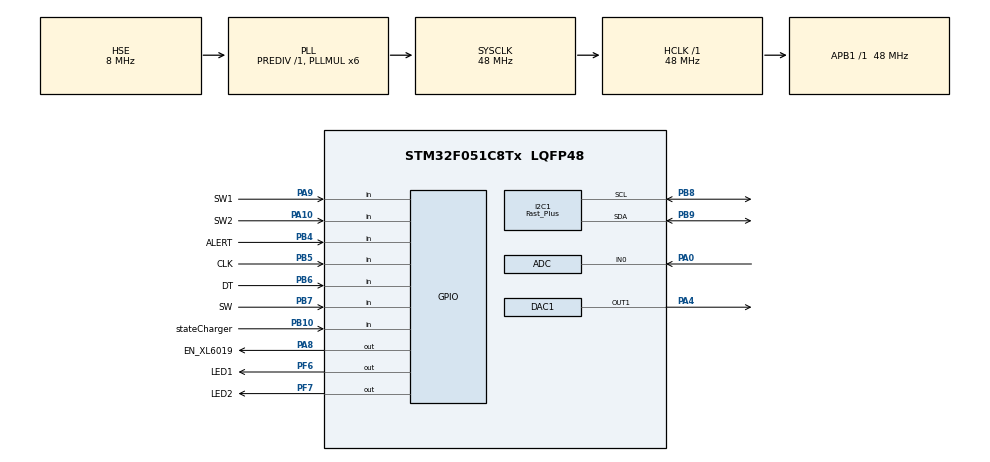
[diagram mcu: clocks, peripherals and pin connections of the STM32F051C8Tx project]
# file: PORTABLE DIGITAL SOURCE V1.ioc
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ADC.ClockPrescaler=ADC_CLOCK_SYNC_PCLK_DIV4
ADC.ContinuousConvMode=ENABLE
ADC.SamplingTime=ADC_SAMPLETIME_28CYCLES_5
I2C1.I2C_Speed_Mode=I2C_Fast_Plus
I2C1.Timing=0x20000209
Mcu.Family=STM32F0
Mcu.Name=STM32F051C8Tx
Mcu.Package=LQFP48
NVIC.TIM6_DAC_IRQn=true\:0\:0\:false\:false\:true\:true\:true\:true
PA0.Mode=IN0
PA0.Signal=ADC_IN0
PA10.GPIO_Label=SW2
PA10.GPIO_PuPd=GPIO_PULLUP
PA10.Signal=GPIO_Input
PA13.Mode=Serial_Wire
PA13.Signal=SYS_SWDIO
PA14.Mode=Serial_Wire
PA14.Signal=SYS_SWCLK
PA4.Signal=COMP_DAC11_group
PA8.GPIO_Label=EN_XL6019
PA8.GPIO_PuPd=GPIO_PULLDOWN
PA8.Signal=GPIO_Output
PA9.GPIO_Label=SW1
PA9.GPIO_PuPd=GPIO_PULLUP
PA9.Signal=GPIO_Input
PB10.GPIO_Label=stateCharger
PB10.GPIO_PuPd=GPIO_PULLDOWN
PB10.Signal=GPIO_Input
PB4.GPIO_Label=ALERT
PB4.Signal=GPIO_Input
PB5.GPIO_Label=CLK
PB5.GPIO_PuPd=GPIO_PULLUP
PB5.Signal=GPIO_Input
PB6.GPIO_Label=DT
PB6.GPIO_PuPd=GPIO_PULLUP
PB6.Signal=GPIO_Input
PB7.GPIO_Label=SW
PB7.GPIO_PuPd=GPIO_PULLUP
PB7.Signal=GPIO_Input
PB8.Mode=I2C
PB8.Signal=I2C1_SCL
PB9.Mode=I2C
PB9.Signal=I2C1_SDA
PF0-OSC_IN.Mode=HSE-External-Oscillator
PF0-OSC_IN.Signal=RCC_OSC_IN
PF1-OSC_OUT.Mode=HSE-External-Oscillator
PF1-OSC_OUT.Signal=RCC_OSC_OUT
PF6.GPIO_Label=LED1
PF6.Signal=GPIO_Output
PF7.GPIO_Label=LED2
PF7.Signal=GPIO_Output
ProjectManager.HeapSize=0x200
ProjectManager.StackSize=0x400
ProjectManager.TargetToolchain=STM32CubeIDE
RCC.AHBFreq_Value=48000000
RCC.APB1Freq_Value=48000000
RCC.APB1TimFreq_Value=48000000
RCC.HCLKFreq_Value=48000000
RCC.I2c1ClockSelection=RCC_I2C1CLKSOURCE_SYSCLK
RCC.PLLMUL=RCC_PLL_MUL6
RCC.PLLSourceVirtual=RCC_PLLSOURCE_HSE
RCC.SYSCLKFreq_VALUE=48000000
RCC.SYSCLKSource=RCC_SYSCLKSOURCE_PLLCLK
SH.COMP_DAC11_group.0=DAC1_OUT1,DAC_OUT1
TIM6.Period=5-1
TIM6.Prescaler=48000-1
VP_TIM6_VS_ClockSourceINT.Mode=Enable_Timer
board=custom

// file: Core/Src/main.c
/* USER CODE BEGIN Header */
/**
  ******************************************************************************
  * @file           : main.c
  * @brief          : Main program body
  ******************************************************************************
  * @attention
  *
  * Copyright (c) 2023 STMicroelectronics.
  * All rights reserved.
  *
  * This software is licensed under terms that can be found in the LICENSE file
  * in the root directory of this software component.
  * If no LICENSE file comes with this software, it is provided AS-IS.
  *
  ******************************************************************************
  */
/* USER CODE END Header */
#include "main.h"

/* USER CODE BEGIN Includes */
#include "stdio.h"
#include "string.h"
#include "math.h"

#include "Anglas_OLED_SSD1306.h"
#include "Anglas_IMAGENES.h"
#include "Anglas_ENCODER_ROT.h"
#include "Anglas_INA226.h"

#include "eeprom.h"
#include "eeprom_Config.h"
/* USER CODE END Includes */

ADC_HandleTypeDef hadc;

DAC_HandleTypeDef hdac1;

I2C_HandleTypeDef hi2c1;

TIM_HandleTypeDef htim6;

/* USER CODE BEGIN PV */
char buff[16];
float encoder;
float Vdac;
float power,current,voltage,shunt,Vshunt;
float Vbat;

float Vdac,VoutMath,difference,PWM,ENCO=0;
float VoutMathAnterior=0.0, VoutMathDiferenciaUP=0.0, VoutMathDiferenciaLOW=0.0, VoutMathCorregido=0.0;
const float Vref=1.25;
const float R1=560;//560k
const float R2=39;//39k
const float R3=56;//56k DAC

float adcVbat=0,VbatADC,previous;

uint16_t contMillis=0;
uint8_t muestras=50;
float rango=0.08;
float step=0.5;
uint16_t cont=0;
uint16_t contButton=0;
uint8_t memButton=0;

uint8_t mem=0,suma=0;//variables para el pulsador del encoder
float point=1820.02;

extern int16_t valor_Encoder;
extern int16_t paso_Encoder;

uint8_t powerSupply=0;

/* USER CODE END PV */

void SystemClock_Config(void);
static void MX_GPIO_Init(void);
static void MX_I2C1_Init(void);
static void MX_TIM6_Init(void);
static void MX_DAC1_Init(void);
static void MX_ADC_Init(void);
/* USER CODE BEGIN PFP */
void medirCorriente(void);
void medirPotencia(void);
void medirVoltBateria(void);
void Control_Estabilizar(void);
/* USER CODE END PFP */

/* USER CODE BEGIN 0 */
typedef struct GlobalData{
	unsigned char test[10];
	unsigned int data;
}GlobalData;

GlobalData data;
/* USER CODE END 0 */

int main(void)
{

  /* MCU Configuration--------------------------------------------------------*/

  /* Reset of all peripherals, Initializes the Flash interface and the Systick. */
  HAL_Init();

  /* Configure the system clock */
  SystemClock_Config();

  /* Initialize all configured peripherals */
  MX_GPIO_Init();
  MX_I2C1_Init();
  MX_TIM6_Init();
  MX_DAC1_Init();
  MX_ADC_Init();
  /* USER CODE BEGIN 2 */

  //ee_writeToRam(0, sizeof(float), &point);
  //ee_commit();

  ee_read(0, sizeof(float), (uint8_t*)&valor_Encoder);//leo el valor de la eeprom

  HAL_TIM_Base_Start_IT(&htim6);
  OLED_Init();
  INA226_Init(3000,25,AVG_128,T_Vbus_588us,T_Vshunt_588us,MODE_SHUNT_BUS_CONTINUOUS);
  OLED_Print_Text(7,104,1,"0.1");//eliminar

  //OLED_Print_Text(2,104,1,"OFF");
  /* USER CODE END 2 */

  /* Infinite loop */
  /* USER CODE BEGIN WHILE */
  while (1)
  {

//	  if(!HAL_GPIO_ReadPin(SW1_GPIO_Port, SW1_Pin)){
//		  HAL_GPIO_WritePin(LED1_GPIO_Port, LED1_Pin, SET);
//	  }else{
//		  HAL_GPIO_WritePin(LED1_GPIO_Port, LED1_Pin, RESET);
//	  }
//
//	  if(!HAL_GPIO_ReadPin(SW2_GPIO_Port, SW2_Pin)){
//		  HAL_GPIO_WritePin(LED2_GPIO_Port, LED2_Pin, SET);
//	  }else{
//		  HAL_GPIO_WritePin(LED2_GPIO_Port, LED2_Pin, RESET);
//	  }

	  ///////////////////////////// ICONO DE CARGA BATERIA////////////////////////////////////////////////////
	  //Cuando se conecta el cargador
	  if(HAL_GPIO_ReadPin(stateCharger_GPIO_Port, stateCharger_Pin)==1){
		  OLED_Print_Text(1,104,1,"ON ");
	  }else{
		  OLED_Print_Text(1,104,1,"OFF");
	  }
	  ///////////////////////////// BUTTON ENCODER - SW ///////////////////////////////////////////////////////
      //Lo que hace es lo mismo que un toggle, solo con mi logica de programacio y sin delay
      if(HAL_GPIO_ReadPin(SW_GPIO_Port, SW_Pin) == 0 && mem == 0){
          mem = 1;}
      //Cuando se presiona solo una vez el contButton aumenta de 1 a 3 como maximo, por eso verifico esto
      if(HAL_GPIO_ReadPin(SW_GPIO_Port, SW_Pin) == 1 && mem == 1){
          suma = suma + 1;
          mem = 0;
      }

      if(suma==1){
          suma=2;  //cambio el contador para que solo haga una vez todo lo que esta dentro del if
          paso_Encoder = 120;
          OLED_Print_Text(7,104,1,"1.0");
      }

      if(suma==3){
          suma=0; //cambio el contador para que solo haga una vez todo lo que esta dentro del if
          paso_Encoder = 12;
          OLED_Print_Text(7,104,1,"0.1");
      }

      //Mantener presionado el SW por cierto tiempo
      if(HAL_GPIO_ReadPin(SW2_GPIO_Port, SW2_Pin) == 0){
    	  contButton++;
    	  if(contButton>15){// 15seg aprox
    		  contButton=0;
    		  powerSupply++;
    	  }
      }
      //Garantiza que el contButton siempre inicie de 0
      if(HAL_GPIO_ReadPin(SW2_GPIO_Port, SW2_Pin) == 1 && contButton>0){contButton=0;}

      if(powerSupply==1){
    	  powerSupply=2;
    	  OLED_Print_Text(6,104,1,"ON ");
    	  HAL_GPIO_WritePin(EN_XL6019_GPIO_Port, EN_XL6019_Pin, SET);
    	  ee_writeToRam(0, sizeof(float), (uint8_t*)&valor_Encoder);//escribo en al eeprom
    	  ee_commit();
      }

      if(powerSupply==3){
    	  powerSupply=0;
    	  OLED_Print_Text(6,104,1,"OFF");
    	  HAL_GPIO_WritePin(EN_XL6019_GPIO_Port, EN_XL6019_Pin, RESET);
    	  ENCO=0;//ver si eliminar esta linea
      }

      ///////////////////////////// MEDIR VOLTAJE-CORRIENTE-POTENCIA//////////////////////////////////////////
	  //Medimos el voltaje del dac para aplicar en la formula de VoutMath
      Vdac = encoder*3.26/4096.0;
      medirCorriente();
      //medirPotencia();

      //medimos el voltaje de salida
      voltage = INA226_Vbus();

      ///////////////////////////// MEDIR VOUTMATH ///////////////////////////////////////////////////////////
      /* La formula es la siguiente:
       * VoutMath = Vref+(((Vref/R2)+((Vref-Vdac)/R3))*R1);
       * Para  R1=560k, R2=39k, R3=56k y Vref=1.25, se reduce a:
       * VoutMath = 31.7 - 10*Vdac
       * Vdac = 3.17 - VoutMath*0.1
       *
       * Formula para corregier la salida: (0.0009*VoutMath*VoutMath - 0.0799*VoutMath + 1.5091)
      */

      VoutMath = 31.7 - 10*Vdac;
      VoutMath = VoutMath - (0.0009*VoutMath*VoutMath - 0.0799*VoutMath + 1.5091);//formula para corregir el Vouth (excel)
      VoutMath = (round(VoutMath * 100)/100);

      if(VoutMath > VoutMathAnterior){
    	  VoutMathAnterior = VoutMath - VoutMathAnterior;
    	  VoutMathDiferenciaUP = VoutMathAnterior;
    	  sprintf(buff,"%2.2f",VoutMathAnterior);
    	  OLED_Print_Text(3,104,1,buff);
      }

      if(VoutMath < VoutMathAnterior){
		  VoutMathAnterior = VoutMathAnterior - VoutMath;
		  VoutMathDiferenciaLOW = VoutMathAnterior;
		  sprintf(buff,"%2.2f",VoutMathAnterior);
		  OLED_Print_Text(3,104,1,buff);
		}
      VoutMathAnterior = VoutMath;

      if(VoutMathDiferenciaUP>0.09 && VoutMathDiferenciaUP<=0.100001){
    	  VoutMath = VoutMath + 0.00;
    	  HAL_GPIO_WritePin(LED1_GPIO_Port, LED1_Pin, RESET);
      }else if(VoutMathDiferenciaUP>0.100001 && VoutMathDiferenciaUP<=0.11){
    	  VoutMath = VoutMath - 0.01;
    	  HAL_GPIO_WritePin(LED1_GPIO_Port, LED1_Pin, SET);
      }

      sprintf(buff,"SET:%2.2fV ",VoutMath);
      OLED_Print_Text(0,0,2,buff);

      sprintf(buff,"%4.0f",encoder);
      OLED_Print_Text(4,104,1,buff);

      sprintf(buff,"%2.2f",Vdac);
      OLED_Print_Text(5,104,1,buff);

      Control_Estabilizar();

      ///////////////////////////// MEDIR VBAT 12VDC - ADC ///////////////////////////////////////////////////////////
      //Leo 20 muestras del adc para tener una lectura mas precisa
	  HAL_ADC_Start(&hadc);
	  adcVbat=0;
      for(uint8_t i=0; i<muestras; i++) adcVbat += HAL_ADC_GetValue(&hadc);
      adcVbat /= muestras;
      Vbat = adcVbat*(3.38/4096.0)*4.309;//(3.3/4096.0)*4.26 ------ 4.26aprox sale del divisor resistivo V*10k/(10K+33K) -> V = 4.3

      ///////////////////////////// MILLIS ///////////////////////////////////////////////////////////
      if(contMillis>=90){//cada (Xms * 5) imprimo en el oled
    	  sprintf(buff,"%2.1fV",Vbat); OLED_Print_Text(0,96,1,buff);
		  sprintf(buff,"%2.1fV ",voltage); OLED_Print_Text(2,0,3,buff);
    	  contMillis=0;
      }

    /* USER CODE END WHILE */

  }
}

void SystemClock_Config(void)
{
  RCC_OscInitTypeDef RCC_OscInitStruct = {0};
  RCC_ClkInitTypeDef RCC_ClkInitStruct = {0};
  RCC_PeriphCLKInitTypeDef PeriphClkInit = {0};

  /** Initializes the RCC Oscillators according to the specified parameters
  * in the RCC_OscInitTypeDef structure.
  */
  RCC_OscInitStruct.OscillatorType = RCC_OSCILLATORTYPE_HSE;
  RCC_OscInitStruct.HSEState = RCC_HSE_ON;
  RCC_OscInitStruct.PLL.PLLState = RCC_PLL_ON;
  RCC_OscInitStruct.PLL.PLLSource = RCC_PLLSOURCE_HSE;
  RCC_OscInitStruct.PLL.PLLMUL = RCC_PLL_MUL6;
  RCC_OscInitStruct.PLL.PREDIV = RCC_PREDIV_DIV1;
  if (HAL_RCC_OscConfig(&RCC_OscInitStruct) != HAL_OK)
  {
    Error_Handler();
  }

  /** Initializes the CPU, AHB and APB buses clocks
  */
  RCC_ClkInitStruct.ClockType = RCC_CLOCKTYPE_HCLK|RCC_CLOCKTYPE_SYSCLK
                              |RCC_CLOCKTYPE_PCLK1;
  RCC_ClkInitStruct.SYSCLKSource = RCC_SYSCLKSOURCE_PLLCLK;
  RCC_ClkInitStruct.AHBCLKDivider = RCC_SYSCLK_DIV1;
  RCC_ClkInitStruct.APB1CLKDivider = RCC_HCLK_DIV1;

  if (HAL_RCC_ClockConfig(&RCC_ClkInitStruct, FLASH_LATENCY_1) != HAL_OK)
  {
    Error_Handler();
  }
  PeriphClkInit.PeriphClockSelection = RCC_PERIPHCLK_I2C1;
  PeriphClkInit.I2c1ClockSelection = RCC_I2C1CLKSOURCE_SYSCLK;
  if (HAL_RCCEx_PeriphCLKConfig(&PeriphClkInit) != HAL_OK)
  {
    Error_Handler();
  }
}

static void MX_ADC_Init(void)
{

  ADC_ChannelConfTypeDef sConfig = {0};

  /** Configure the global features of the ADC (Clock, Resolution, Data Alignment and number of conversion)
  */
  hadc.Instance = ADC1;
  hadc.Init.ClockPrescaler = ADC_CLOCK_SYNC_PCLK_DIV4;
  hadc.Init.Resolution = ADC_RESOLUTION_12B;
  hadc.Init.DataAlign = ADC_DATAALIGN_RIGHT;
  hadc.Init.ScanConvMode = ADC_SCAN_DIRECTION_FORWARD;
  hadc.Init.EOCSelection = ADC_EOC_SINGLE_CONV;
  hadc.Init.LowPowerAutoWait = DISABLE;
  hadc.Init.LowPowerAutoPowerOff = DISABLE;
  hadc.Init.ContinuousConvMode = ENABLE;
  hadc.Init.DiscontinuousConvMode = DISABLE;
  hadc.Init.ExternalTrigConv = ADC_SOFTWARE_START;
  hadc.Init.ExternalTrigConvEdge = ADC_EXTERNALTRIGCONVEDGE_NONE;
  hadc.Init.DMAContinuousRequests = DISABLE;
  hadc.Init.Overrun = ADC_OVR_DATA_PRESERVED;
  if (HAL_ADC_Init(&hadc) != HAL_OK)
  {
    Error_Handler();
  }

  /** Configure for the selected ADC regular channel to be converted.
  */
  sConfig.Channel = ADC_CHANNEL_0;
  sConfig.Rank = ADC_RANK_CHANNEL_NUMBER;
  sConfig.SamplingTime = ADC_SAMPLETIME_28CYCLES_5;
  if (HAL_ADC_ConfigChannel(&hadc, &sConfig) != HAL_OK)
  {
    Error_Handler();
  }

}

static void MX_DAC1_Init(void)
{

  DAC_ChannelConfTypeDef sConfig = {0};

  /** DAC Initialization
  */
  hdac1.Instance = DAC;
  if (HAL_DAC_Init(&hdac1) != HAL_OK)
  {
    Error_Handler();
  }

  /** DAC channel OUT1 config
  */
  sConfig.DAC_Trigger = DAC_TRIGGER_NONE;
  sConfig.DAC_OutputBuffer = DAC_OUTPUTBUFFER_ENABLE;
  if (HAL_DAC_ConfigChannel(&hdac1, &sConfig, DAC_CHANNEL_1) != HAL_OK)
  {
    Error_Handler();
  }

}

static void MX_I2C1_Init(void)
{

  hi2c1.Instance = I2C1;
  hi2c1.Init.Timing = 0x20000209;
  hi2c1.Init.OwnAddress1 = 0;
  hi2c1.Init.AddressingMode = I2C_ADDRESSINGMODE_7BIT;
  hi2c1.Init.DualAddressMode = I2C_DUALADDRESS_DISABLE;
  hi2c1.Init.OwnAddress2 = 0;
  hi2c1.Init.OwnAddress2Masks = I2C_OA2_NOMASK;
  hi2c1.Init.GeneralCallMode = I2C_GENERALCALL_DISABLE;
  hi2c1.Init.NoStretchMode = I2C_NOSTRETCH_DISABLE;
  if (HAL_I2C_Init(&hi2c1) != HAL_OK)
  {
    Error_Handler();
  }

  /** Configure Analogue filter
  */
  if (HAL_I2CEx_ConfigAnalogFilter(&hi2c1, I2C_ANALOGFILTER_ENABLE) != HAL_OK)
  {
    Error_Handler();
  }

  /** Configure Digital filter
  */
  if (HAL_I2CEx_ConfigDigitalFilter(&hi2c1, 0) != HAL_OK)
  {
    Error_Handler();
  }

  /** I2C Fast mode Plus enable
  */
  __HAL_SYSCFG_FASTMODEPLUS_ENABLE(I2C_FASTMODEPLUS_I2C1);

}

static void MX_TIM6_Init(void)
{

  TIM_MasterConfigTypeDef sMasterConfig = {0};

  htim6.Instance = TIM6;
  htim6.Init.Prescaler = 48000-1;
  htim6.Init.CounterMode = TIM_COUNTERMODE_UP;
  htim6.Init.Period = 5-1;
  htim6.Init.AutoReloadPreload = TIM_AUTORELOAD_PRELOAD_DISABLE;
  if (HAL_TIM_Base_Init(&htim6) != HAL_OK)
  {
    Error_Handler();
  }
  sMasterConfig.MasterOutputTrigger = TIM_TRGO_RESET;
  sMasterConfig.MasterSlaveMode = TIM_MASTERSLAVEMODE_DISABLE;
  if (HAL_TIMEx_MasterConfigSynchronization(&htim6, &sMasterConfig) != HAL_OK)
  {
    Error_Handler();
  }

}

static void MX_GPIO_Init(void)
{
  GPIO_InitTypeDef GPIO_InitStruct = {0};

  /* GPIO Ports Clock Enable */
  __HAL_RCC_GPIOF_CLK_ENABLE();
  __HAL_RCC_GPIOA_CLK_ENABLE();
  __HAL_RCC_GPIOB_CLK_ENABLE();

  /*Configure GPIO pin Output Level */
  HAL_GPIO_WritePin(EN_XL6019_GPIO_Port, EN_XL6019_Pin, GPIO_PIN_RESET);

  /*Configure GPIO pin Output Level */
  HAL_GPIO_WritePin(GPIOF, LED1_Pin|LED2_Pin, GPIO_PIN_RESET);

  /*Configure GPIO pin : stateCharger_Pin */
  GPIO_InitStruct.Pin = stateCharger_Pin;
  GPIO_InitStruct.Mode = GPIO_MODE_INPUT;
  GPIO_InitStruct.Pull = GPIO_PULLDOWN;
  HAL_GPIO_Init(stateCharger_GPIO_Port, &GPIO_InitStruct);

  /*Configure GPIO pin : EN_XL6019_Pin */
  GPIO_InitStruct.Pin = EN_XL6019_Pin;
  GPIO_InitStruct.Mode = GPIO_MODE_OUTPUT_PP;
  GPIO_InitStruct.Pull = GPIO_PULLDOWN;
  GPIO_InitStruct.Speed = GPIO_SPEED_FREQ_LOW;
  HAL_GPIO_Init(EN_XL6019_GPIO_Port, &GPIO_InitStruct);

  /*Configure GPIO pins : SW1_Pin SW2_Pin */
  GPIO_InitStruct.Pin = SW1_Pin|SW2_Pin;
  GPIO_InitStruct.Mode = GPIO_MODE_INPUT;
  GPIO_InitStruct.Pull = GPIO_PULLUP;
  HAL_GPIO_Init(GPIOA, &GPIO_InitStruct);

  /*Configure GPIO pins : LED1_Pin LED2_Pin */
  GPIO_InitStruct.Pin = LED1_Pin|LED2_Pin;
  GPIO_InitStruct.Mode = GPIO_MODE_OUTPUT_PP;
  GPIO_InitStruct.Pull = GPIO_NOPULL;
  GPIO_InitStruct.Speed = GPIO_SPEED_FREQ_LOW;
  HAL_GPIO_Init(GPIOF, &GPIO_InitStruct);

  /*Configure GPIO pin : ALERT_Pin */
  GPIO_InitStruct.Pin = ALERT_Pin;
  GPIO_InitStruct.Mode = GPIO_MODE_INPUT;
  GPIO_InitStruct.Pull = GPIO_NOPULL;
  HAL_GPIO_Init(ALERT_GPIO_Port, &GPIO_InitStruct);

  /*Configure GPIO pins : CLK_Pin DT_Pin SW_Pin */
  GPIO_InitStruct.Pin = CLK_Pin|DT_Pin|SW_Pin;
  GPIO_InitStruct.Mode = GPIO_MODE_INPUT;
  GPIO_InitStruct.Pull = GPIO_PULLUP;
  HAL_GPIO_Init(GPIOB, &GPIO_InitStruct);

}

/* USER CODE BEGIN 4 */
void HAL_TIM_PeriodElapsedCallback(TIM_HandleTypeDef *htim) {
	if (htim->Instance == TIM6) {//Leemos el encoder cada 5ms
		encoder = Encoder_Run();
		contMillis++;
	}
}

void medirCorriente(void){
	current = INA226_Current();
	if(current>=0){
		sprintf(buff,"%4.0fmA",current);
		OLED_Print_Text(6,0,2,buff);
	}else{
		OLED_Print_Text(6,0,2,"   0mA");
	}
}

void medirPotencia(void){
	power = INA226_Power();
    if(power>=0){
	    sprintf(buff,"%2.2fW",power);
	    OLED_Print_Text(3,70,1,buff);
	    //OLED_Print_Text(2,70,2,buff);
    }else{
	    OLED_Print_Text(3,70,1,"0.00W ");
	    //OLED_Print_Text(2,70,2,"0.00W ");
    }
}

void medirVoltBateria(void){
	HAL_ADC_Start(&hadc);
    //adcSample = HAL_ADC_GetValue(&hadc1);
	Vbat = HAL_ADC_GetValue(&hadc)*(3.26/4096.0)*4.55;
	sprintf(buff,"VIN:%2.2f",Vbat);
	OLED_Print_Text(0,70,1,buff);
}

void Control_Estabilizar(void){

    HAL_DAC_Start(&hdac1, DAC_CHANNEL_1);
    if(VoutMath > voltage){
    	difference = VoutMath - voltage;
    	if(difference>=0.001 && difference<=rango){
    		ENCO=ENCO-step;
    	}else if(difference>rango && difference<=rango*2){
    		ENCO=ENCO-step;
    	}else if(difference>rango*2 && difference<=rango*3){
    		ENCO=ENCO-step;
    	}else if(difference>rango*3 && difference<=rango*4){
    		ENCO=ENCO-step;
    	}else if(difference>rango*4 && difference<=rango*5){
    		ENCO=ENCO-step;
    	}else if(difference>rango*5 && difference<=rango*6){
    		ENCO=ENCO-step*2;
    	}else if(difference>rango*6 && difference<=rango*7){
    		ENCO=ENCO-step*3;
    	}else if(difference>rango*7 && difference<=rango*8){
    		ENCO=ENCO-step*4;
    	}
    	PWM = encoder+ENCO;
    	HAL_DAC_SetValue(&hdac1, DAC_CHANNEL_1, DAC_ALIGN_12B_R, PWM);
    }

    //if(VoutMath > voltage) ENCO=0;

    if(VoutMath < voltage){
    	difference = voltage - VoutMath;
    	if(difference>=0.001 && difference<=rango){
    		ENCO=ENCO+step;
    	}else if(difference>rango && difference<=rango*2){
    		ENCO=ENCO+step;
    	}else if(difference>rango*2 && difference<=rango*3){
    		ENCO=ENCO+step;
    	}else if(difference>rango*3 && difference<=rango*4){
    		ENCO=ENCO+step;
    	}else if(difference>rango*4 && difference<=rango*5){
    		ENCO=ENCO+step;
    	}else if(difference>rango*5 && difference<=rango*6){
    		ENCO=ENCO+step*2;
    	}else if(difference>rango*6 && difference<=rango*7){
    		ENCO=ENCO+step*3;
    	}else if(difference>rango*7 && difference<=rango*8){
    		ENCO=ENCO+step*4;
    	}
    	PWM = encoder+ENCO;
    	HAL_DAC_SetValue(&hdac1, DAC_CHANNEL_1, DAC_ALIGN_12B_R, PWM);
    }
}
/* USER CODE END 4 */

void Error_Handler(void)
{
  __disable_irq();
  while (1)
  {
  }
}
